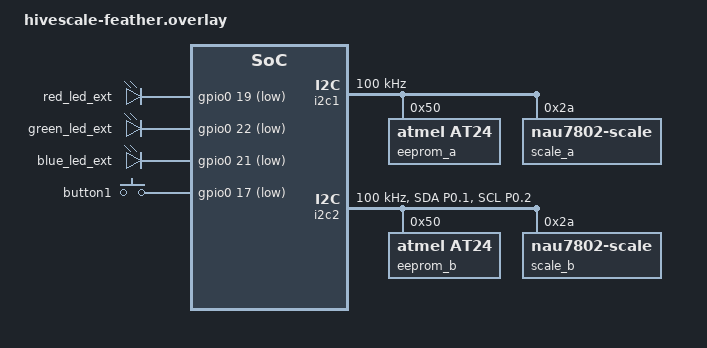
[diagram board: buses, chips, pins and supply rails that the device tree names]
/*
 * Copyright (c) 2023 Achim Kraus CloudCoap.net
 *
 * See the NOTICE file(s) distributed with this work for additional
 * information regarding copyright ownership.
 *
 * This program and the accompanying materials are made available under the
 * terms of the Eclipse Public License 2.0 which is available at
 * http: //www.eclipse.org/legal/epl-2.0
 *
 * SPDX-License-Identifier: EPL-2.0
 */

/*
 * Usage:
 *
 * west build -d build_feather_nrf9160_ns -b circuitdojo_feather_nrf9160_ns --pristine -- \
 *    -DOVERLAY_CONFIG="60min0-prj.conf;at-cmd-prj.conf;hivescale-prj.conf" \
 *    -DDTC_OVERLAY_FILE="hivescale-feather.overlay" -DCONFIG_BATTERY_TYPE_ENELOOP_2000_MAH=y
 */

#include "boards/circuitdojo_feather_nrf9160_ns.overlay"


&pinctrl {

	i2c2_default: i2c2_default {
		group1 {
			psels = <NRF_PSEL(TWIM_SDA, 0, 1)>,
					<NRF_PSEL(TWIM_SCL, 0, 2)>;
			// This I/Os have no pull-ups on the feather.
			// The pull-ups on the ADC/NAU board 
			// are too weak for longer lines.
			bias-pull-up;
		};
	};

	i2c2_sleep: i2c2_sleep {
		group1 {
			psels = <NRF_PSEL(TWIM_SDA, 0, 1)>,
					<NRF_PSEL(TWIM_SCL, 0, 2)>;
			low-power-enable;
		};
	};
};

&i2c1 {

	clock-frequency = <I2C_BITRATE_STANDARD>;

	eeprom_a: eeprom@50 {
		/* AT24HC04B (4 kbit eeprom 512x8 bit) */
		/* NOTE: the 9th address bit collides with the 0x51 of the feather clock chip. */
		compatible = "atmel,at24";
		reg = <0x50>;
		size = <512>;
		pagesize = <16>;
		address-width = <8>;
		timeout = <5>;
	};

	scale_a: scale@2a {
		compatible = "nau7802-scale";
		reg = <0x2a>;
		avref_mv = <3000>;
		gain = <64>;
		calibration_storage = <&eeprom_a>;
	};

};

&i2c2 {
	compatible = "nordic,nrf-twim";
	status = "okay";
	pinctrl-0 = <&i2c2_default>;
	pinctrl-1 = <&i2c2_sleep>;
	pinctrl-names = "default", "sleep";
	clock-frequency = <I2C_BITRATE_STANDARD>;

	eeprom_b: eeprom@50 {
		/* AT24HC04B (4 kbit eeprom 512x8 bit) */
		compatible = "atmel,at24";
		reg = <0x50>;
		size = <512>;
		pagesize = <16>;
		address-width = <8>;
		timeout = <5>;
	};

	scale_b: scale@2a {
		compatible = "nau7802-scale";
		reg = <0x2a>;
		avref_mv = <3000>;
		gain = <64>;
		calibration_storage = <&eeprom_b>;
	};

};

/    {

	leds {

		red_led_ext: led_1 {
			gpios = <&gpio0 19 GPIO_ACTIVE_LOW>;
		};
		green_led_ext: led_2 {
			gpios = <&gpio0 22 GPIO_ACTIVE_LOW>;
		};
		blue_led_ext: led_3 {
			gpios = <&gpio0 21 GPIO_ACTIVE_LOW>;
		};

	};

	buttons {
		compatible = "gpio-keys";
		button1: button_1 {
			gpios = <&gpio0 17 (GPIO_PULL_UP | GPIO_ACTIVE_LOW)>;
		};
	};


	aliases {
		led0 = &red_led_ext;
		led1 = &green_led_ext;
		led2 = &blue_led_ext;

		sw0 = &button1;

		scale-a = &scale_a;
		scale-b = &scale_b;
	};

};
